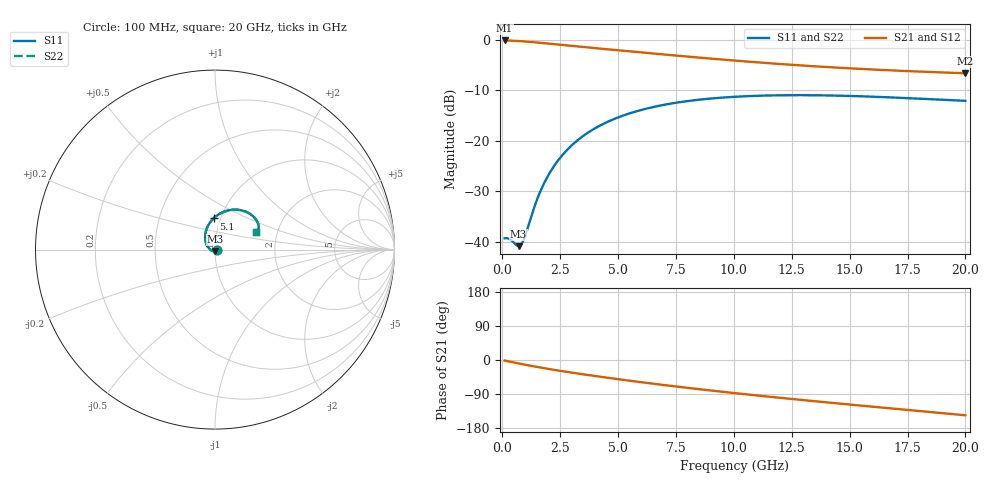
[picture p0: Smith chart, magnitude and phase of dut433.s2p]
! Touchstone file exported from HFSS 2024.1.0
!  File:  C:/UserFiles/LocalFiles/RDL_TSV_Batchsim/temp_RDL_TSV_433_1779720449.aedt
!  Generated:  11:02:46 PM May 25, 2026
!  Design:  RDL_TSV
!  Project:  temp_RDL_TSV_433_1779720449
!  Setup:  Setup1
!  Solution:  Sweep
! Variables:
!  dtsv = 11.8um
!  hbump = 3um
!  htsv = 55.1um
!  ldown = 483.35um
!  lrdl = 167.81um
!  p = 40
!  p1 = 44.18um
!  rhole = 10um
!  subl = 2121.29um
!  t = 450um
!  tdown = 3.64um
!  trdl = 2.74um
!  viad = 10um
!  wdown = 22.89um
!  wrdl = 22.45um
!  xbump = 18um
# GHz S MA R 50.000000
! Terminal data exported
! Port[1] = TM1_1_T1
! Port[2] = TM1_4_T1
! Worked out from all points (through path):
!   200 points, 100 MHz to 20 GHz, reference 50 ohm
!   highest |S21| = -0.10 dB at 100 MHz (marker M1); lowest = -6.6 dB at 20 GHz (marker M2)
!   group delay of S21, straight-line fit = 19.2 ps
!   lowest |S11| = -40.9 dB at 700 MHz (marker M3), VSWR 1.02, Z = 50.2 - j0.88 ohm
!   |S11| at or under -10 dB: start of sweep to end of sweep
!   |S22| runs from -40.9 to -11.0 dB; largest |S21 - S12| = 2.4e-14
!   S11 on the Smith chart (normalised r, x): 100 MHz: 1.02, -0.00; 5.1 GHz: 0.93, +0.33; 20 GHz: 1.56, +0.32
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0.1  0.01078 -5.8  0.9888 -1.3  0.9888 -1.3  0.01078 -5.8
! Gamma 0 0 0 0
! Port Impedance 50 0 50 0
0.3  0.01064 -21.6  0.9858 -3.9  0.9858 -3.9  0.01064 -21.6
0.7  0.008995 -76.9  0.9757 -9.0  0.9757 -9.0  0.008998 -76.9
0.8  0.009207 -96.0  0.9725 -10.2  0.9725 -10.2  0.009211 -95.9
0.9  0.01007 -114.8  0.969 -11.4  0.969 -11.4  0.01007 -114.8
1.5  0.02608 179.4  0.9438 -18.3  0.9438 -18.3  0.02608 179.5
1.7  0.03365 168.6  0.9345 -20.5  0.9345 -20.5  0.03365 168.6
2  0.04597 155.9  0.9202 -23.6  0.9202 -23.6  0.04596 155.9
2.3  0.05897 145.7  0.9058 -26.6  0.9058 -26.6  0.05896 145.8
2.7  0.07675 134.7  0.887 -30.5  0.887 -30.5  0.07674 134.7
3.1  0.09453 125.4  0.8688 -34.2  0.8688 -34.2  0.09451 125.4
3.5  0.1119 117.3  0.8512 -37.8  0.8512 -37.8  0.1119 117.3
4.2  0.1407 105.4  0.8219 -43.9  0.8219 -43.9  0.1407 105.4
5.1  0.1738 92.7  0.7862 -51.4  0.7862 -51.4  0.1738 92.8
5.9  0.1991 83.3  0.7562 -57.8  0.7562 -57.8  0.1991 83.3
6.8  0.223 74.2  0.724 -64.7  0.724 -64.7  0.223 74.3
8.3  0.2525 61.7  0.6745 -75.6  0.6745 -75.6  0.2525 61.7
10.1  0.2735 49.9  0.6227 -87.8  0.6227 -87.8  0.2735 49.9
11.7  0.2819 41.5  0.5838 -97.9  0.5838 -97.9  0.2819 41.5
13.4  0.2828 34.6  0.5495 -108.2  0.5495 -108.2  0.2829 34.6
16.7  0.2697 25.7  0.5002 -127.2  0.5002 -127.2  0.2699 25.7
20  0.249 22.7  0.4677 -145.9  0.4677 -145.9  0.2492 22.7
